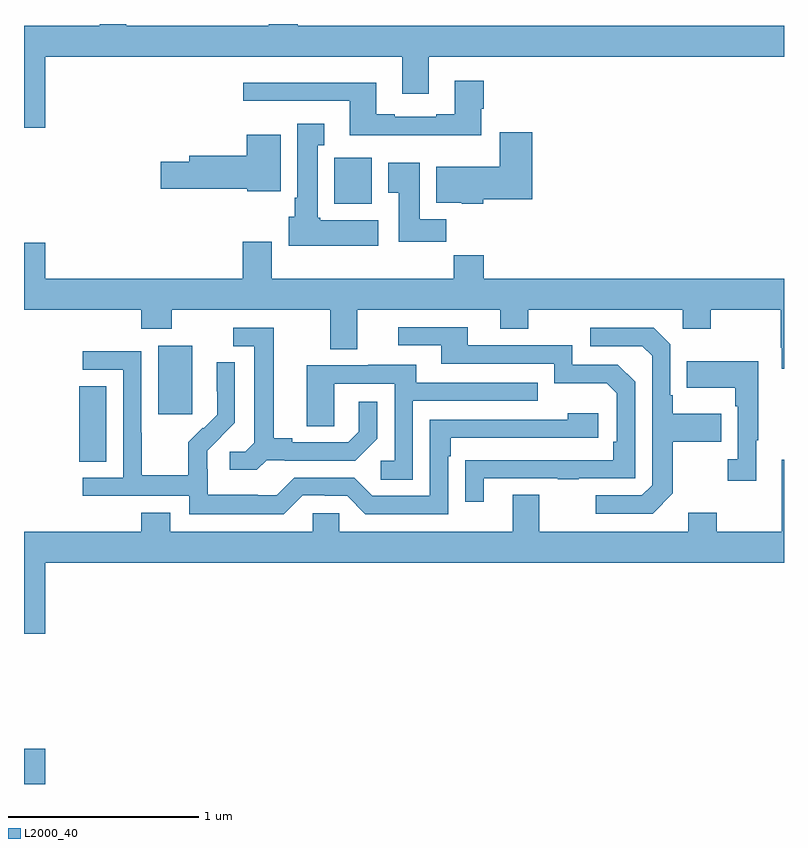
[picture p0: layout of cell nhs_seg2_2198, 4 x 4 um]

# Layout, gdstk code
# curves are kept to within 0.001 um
import gdstk
lib = gdstk.Library(unit=1e-6, precision=1e-09)
def R(c, l, rs):  # rectangles x0, y0, x1, y1
    for r in rs: c.add(gdstk.rectangle(r[:2], r[2:], *l))
def P(c, l, *ps):  # polygons
    for p in ps: c.add(gdstk.Polygon(p, *l))
L2000_40 = (2000, 40)

nhs_seg2_2198 = lib.new_cell('nhs_seg2_2198')
R(nhs_seg2_2198, L2000_40, [(225,651.8,225.112,651.985), (225.29,653.497,225.433,653.894), (225.707,653.745,225.886,654.106), (226.634,654.854,226.831,655.096)])
P(nhs_seg2_2198, L2000_40, [(225.112,655.628),(226.991,655.628),(226.991,655.434),(227.131,655.434),(227.131,655.628),(229,655.628),(229,655.792),(226.442,655.792),(226.442,655.8),(226.289,655.8),(226.289,655.792),(225.537,655.792),(225.537,655.8),(225.399,655.8),(225.399,655.792),(225,655.792),(225,655.254),(225.112,655.254)],
  [(227.407,655.353),(227.42,655.353),(227.42,655.501),(227.267,655.501),(227.267,655.324),(227.171,655.324),(227.171,655.311),(226.951,655.311),(226.951,655.324),(226.855,655.324),(226.855,655.492),(226.155,655.492),(226.155,655.395),(226.715,655.395),(226.715,655.214),(227.407,655.214)],
  [(226.864,654.766),(226.56,654.766),(226.56,654.78),(226.546,654.78),(226.546,655.163),(226.579,655.163),(226.579,655.276),(226.439,655.276),(226.439,654.886),(226.424,654.886),(226.424,654.786),(226.394,654.786),(226.394,654.632),(226.864,654.632)],
  [(227.418,654.878),(227.675,654.878),(227.675,655.231),(227.504,655.231),(227.504,655.048),(227.171,655.048),(227.171,654.86),(227.304,654.86),(227.304,654.854),(227.418,654.854)],
  [(226.351,655.216),(226.172,655.216),(226.172,655.106),(225.869,655.106),(225.869,655.076),(225.72,655.076),(225.72,654.934),(226.176,654.934),(226.176,654.92),(226.351,654.92)],
  [(227.222,654.772),(227.083,654.772),(227.083,655.069),(226.916,655.069),(226.916,654.913),(226.973,654.913),(226.973,654.654),(227.222,654.654)],
  [(229,654.46),(227.42,654.46),(227.42,654.584),(227.263,654.584),(227.263,654.46),(226.303,654.46),(226.303,654.655),(226.151,654.655),(226.151,654.46),(225.112,654.46),(225.112,654.649),(225,654.649),(225,654.296),(225.617,654.296),(225.617,654.197),(225.777,654.197),(225.777,654.296),(226.613,654.296),(226.613,654.088),(226.753,654.088),(226.753,654.296),(227.507,654.296),(227.507,654.197),(227.655,654.197),(227.655,654.296),(228.468,654.296),(228.468,654.197),(228.615,654.197),(228.615,654.296),(228.982,654.296),(228.982,654.097),(228.989,654.097),(228.989,653.985),(229,653.985)],
  [(227.419,653.409),(227.809,653.409),(227.809,653.404),(227.921,653.404),(227.921,653.409),(228.216,653.409),(228.216,653.916),(228.126,654.006),(227.886,654.006),(227.886,654.108),(227.335,654.108),(227.335,654.204),(226.971,654.204),(226.971,654.108),(227.195,654.108),(227.195,654.012),(227.79,654.012),(227.79,653.909),(228.067,653.909),(228.12,653.856),(228.12,653.602),(228.1,653.602),(228.1,653.505),(227.323,653.504),(227.323,653.286),(227.419,653.286)],
  [(226.278,653.505),(226.372,653.505),(226.372,653.502),(226.744,653.502),(226.86,653.618),(226.86,653.812),(226.763,653.812),(226.763,653.655),(226.706,653.598),(226.411,653.598),(226.411,653.621),(226.315,653.621),(226.315,654.201),(226.101,654.201),(226.101,654.105),(226.211,654.105),(226.211,653.597),(226.164,653.55),(226.083,653.55),(226.083,653.453),(226.226,653.453)],
  [(228.415,653.329),(228.415,653.602),(228.671,653.602),(228.671,653.749),(228.415,653.749),(228.415,653.845),(228.402,653.845),(228.402,654.114),(228.315,654.201),(227.979,654.201),(227.979,654.105),(228.255,654.105),(228.306,654.054),(228.306,653.373),(228.252,653.319),(228.009,653.319),(228.009,653.223),(228.309,653.223)],
  [(226.467,653.319),(226.583,653.319),(226.583,653.316),(226.701,653.316),(226.797,653.22),(227.232,653.22),(227.232,653.525),(227.245,653.525),(227.245,653.622),(228.022,653.622),(228.022,653.752),(227.861,653.752),(227.861,653.718),(227.136,653.718),(227.136,653.316),(226.833,653.316),(226.737,653.412),(226.422,653.412),(226.329,653.319),(226.229,653.319),(226.229,653.323),(225.966,653.323),(225.966,653.457),(225.964,653.457),(225.964,653.554),(226.11,653.702),(226.11,654.02),(226.014,654.02),(226.014,653.866),(226.016,653.866),(226.016,653.744),(225.945,653.673),(225.942,653.676),(225.865,653.599),(225.865,653.425),(225.621,653.425),(225.621,653.648),(225.618,653.648),(225.618,654.078),(225.309,654.078),(225.309,653.979),(225.522,653.979),(225.522,653.412),(225.309,653.412),(225.309,653.316),(225.87,653.316),(225.87,653.219),(226.367,653.219)],
  [(228.853,653.609),(228.865,653.609),(228.865,654.025),(228.487,654.025),(228.487,653.885),(228.744,653.885),(228.744,653.789),(228.756,653.789),(228.756,653.51),(228.705,653.51),(228.705,653.397),(228.853,653.397)],
  [(227.046,653.817),(227.705,653.817),(227.705,653.913),(227.065,653.913),(227.065,654.007),(226.811,654.007),(226.811,654.003),(226.487,654.003),(226.487,653.683),(226.632,653.683),(226.632,653.907),(226.95,653.907),(226.95,653.502),(226.878,653.502),(226.878,653.401),(227.046,653.401)],
  [(225.112,652.964),(229,652.964),(229,653.506),(228.989,653.506),(228.989,653.128),(228.645,653.128),(228.645,653.227),(228.497,653.227),(228.497,653.128),(227.713,653.128),(227.713,653.323),(227.573,653.323),(227.573,653.128),(226.659,653.128),(226.659,653.226),(226.521,653.226),(226.521,653.128),(225.769,653.128),(225.769,653.227),(225.617,653.227),(225.617,653.128),(225,653.128),(225,652.59),(225.112,652.59)])

lib.write_gds('nhs_seg2_2198.gds')
